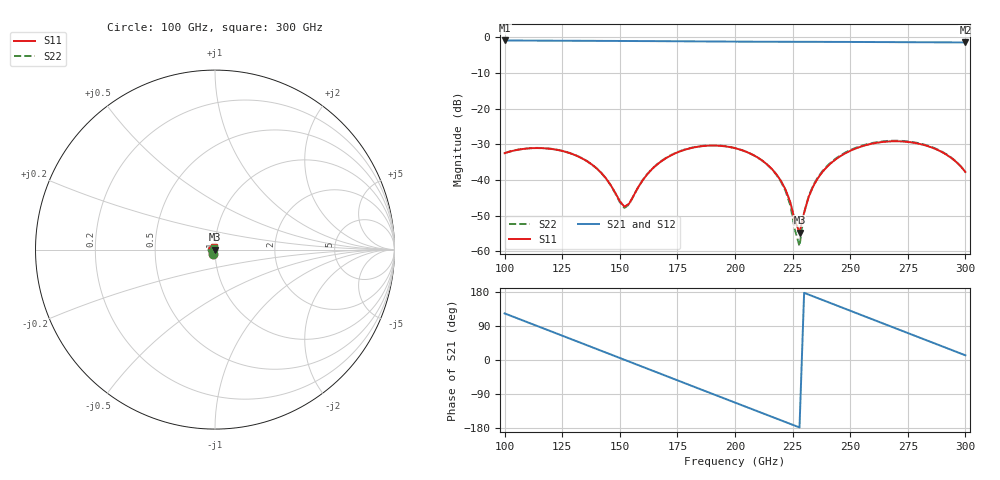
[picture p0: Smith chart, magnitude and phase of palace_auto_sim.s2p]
#  GHZ S DB R 50
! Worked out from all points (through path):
!   101 points, 100 GHz to 300 GHz, reference 50 ohm
!   highest |S21| = -0.89 dB at 100 GHz (marker M1); lowest = -1.4 dB at 300 GHz (marker M2)
!   group delay of S21, straight-line fit = 6.54 ps
!   lowest |S11| = -54.7 dB at 228 GHz (marker M3), VSWR 1.00, Z = 49.8 - j0.0872 ohm
!   |S11| at or under -10 dB: start of sweep to end of sweep
!   |S22| runs from -58.5 to -29.0 dB; largest |S21 - S12| = 1.6e-13
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100  -32.46 -113.3  -0.89 123.0  -0.89 123.0  -32.44 -113.3
116  -31.05 -149.4  -0.94 85.4  -0.94 85.4  -31.01 -149.1
134  -34.05 172.3  -0.99 43.1  -0.99 43.1  -34.01 172.7
142  -38.01 160.4  -1.01 24.2  -1.01 24.2  -38.02 160.6
152  -47.46 -159.3  -1.04 0.6  -1.04 0.6  -47.82 -157.5
162  -38.31 -108.1  -1.07 -22.9  -1.07 -22.9  -38.23 -105.9
168  -34.74 -115.7  -1.09 -37.1  -1.09 -37.1  -34.65 -113.9
184  -30.64 -149.5  -1.15 -74.8  -1.15 -74.8  -30.57 -147.9
200  -31.06 173.0  -1.21 -112.4  -1.21 -112.4  -31.02 174.2
210  -33.74 150.2  -1.24 -135.8  -1.24 -135.8  -33.75 150.8
218  -38.40 134.7  -1.26 -154.6  -1.26 -154.6  -38.54 133.6
224  -46.19 133.4  -1.27 -168.6  -1.27 -168.6  -47.03 126.9
226  -51.34 148.4  -1.27 -173.4  -1.27 -173.4  -53.93 137.1
228  -54.68 -151.7  -1.27 -178.1  -1.27 -178.1  -58.51 -123.2
230  -49.08 -112.2  -1.27 177.2  -1.27 177.2  -49.19 -93.6
234  -41.66 -103.4  -1.28 167.8  -1.28 167.8  -41.41 -93.8
240  -36.26 -111.3  -1.29 153.7  -1.29 153.7  -36.02 -104.6
248  -32.45 -127.2  -1.30 134.8  -1.30 134.8  -32.24 -121.6
258  -30.02 -149.0  -1.33 111.2  -1.33 111.2  -29.84 -143.9
268  -29.15 -171.8  -1.36 87.6  -1.36 87.6  -28.98 -166.6
286  -31.02 145.9  -1.41 45.3  -1.41 45.3  -30.89 152.1
300  -37.73 111.0  -1.44 12.4  -1.44 12.4  -37.67 121.2
